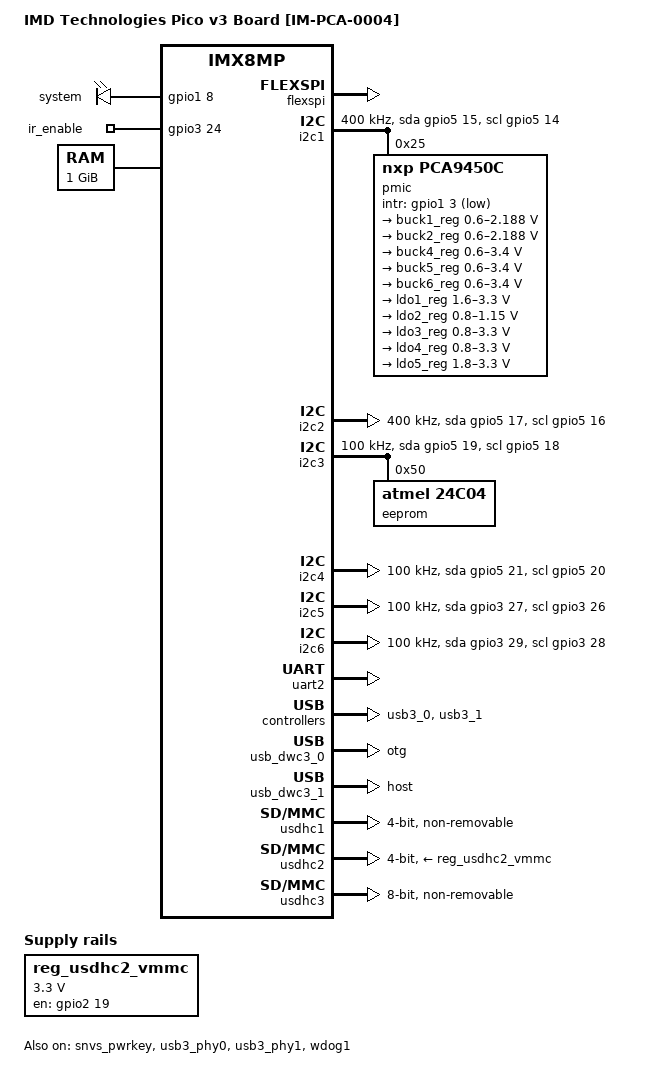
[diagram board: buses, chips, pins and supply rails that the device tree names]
// SPDX-License-Identifier: (GPL-2.0+ OR MIT)
/*
 * Copyright 2019 NXP
 * Copyright (c) 2022 IMD Technologies
 */

/dts-v1/;

#include <dt-bindings/usb/pd.h>
#include "imx8mp.dtsi"

/ {
	model = "IMD Technologies Pico v3 Board [IM-PCA-0004]";
	compatible = "imdt,imx8mp-imdt-pico-v3", "fsl,imx8mp";

	chosen {
		bootargs = "console=ttymxc1,115200";
		stdout-path = &uart2;
	};

	gpio-leds {
		compatible = "gpio-leds";
		pinctrl-names = "default";
		pinctrl-0 = <&pinctrl_gpio_led>;

		system {
			label = "system";
			gpios = <&gpio1 8 GPIO_ACTIVE_HIGH>;
			default-state = "on";
		};

		ir_enable {
			label = "ir_enable";
			gpios = <&gpio3 24 GPIO_ACTIVE_HIGH>;
			default-state = "off";
		};
	};

	memory@40000000 {
		device_type = "memory";
		reg = <0x0 0x40000000 0 0x40000000>;
	};

	reg_usdhc2_vmmc: regulator-usdhc2 {
		compatible = "regulator-fixed";
		pinctrl-names = "default";
		pinctrl-0 = <&pinctrl_reg_usdhc2_vmmc>;
		regulator-name = "VSD_3V3";
		regulator-min-microvolt = <3300000>;
		regulator-max-microvolt = <3300000>;
		gpio = <&gpio2 19 GPIO_ACTIVE_HIGH>;
		enable-active-high;
		startup-delay-us = <100>;
		off-on-delay-us = <12000>;
	};

	dsi_host: dsi-host {
		compatible = "samsung,sec-mipi-dsi";
		status = "disabled";
	};
};

&flexspi {
	pinctrl-names = "default";
	pinctrl-0 = <&pinctrl_flexspi0>;
	status = "okay";
};

&i2c1 {
	clock-frequency = <400000>;
	pinctrl-names = "default", "gpio";
	pinctrl-0 = <&pinctrl_i2c1>;
	pinctrl-1 = <&pinctrl_i2c1_gpio>;
	scl-gpios = <&gpio5 14 GPIO_ACTIVE_HIGH>;
	sda-gpios = <&gpio5 15 GPIO_ACTIVE_HIGH>;
	status = "okay";

	pmic: pca9450@25 {
		reg = <0x25>;
		compatible = "nxp,pca9450c";
		/* PMIC PCA9450 PMIC_nINT GPIO1_IO3 */
		pinctrl-0 = <&pinctrl_pmic>;
		gpio_intr = <&gpio1 3 GPIO_ACTIVE_LOW>;

		regulators {
			#address-cells = <1>;
			#size-cells = <0>;

			pca9450,pmic-buck2-uses-i2c-dvs;
			/* Run/Standby voltage */
			pca9450,pmic-buck2-dvs-voltage = <950000>, <850000>;

			buck1_reg: regulator@0 {
				reg = <0>;
				regulator-compatible = "buck1";
				regulator-min-microvolt = <600000>;
				regulator-max-microvolt = <2187500>;
				regulator-boot-on;
				regulator-always-on;
				regulator-ramp-delay = <3125>;
			};

			buck2_reg: regulator@1 {
				reg = <1>;
				regulator-compatible = "buck2";
				regulator-min-microvolt = <600000>;
				regulator-max-microvolt = <2187500>;
				regulator-boot-on;
				regulator-always-on;
				regulator-ramp-delay = <3125>;
			};

			buck4_reg: regulator@3 {
				reg = <3>;
				regulator-compatible = "buck4";
				regulator-min-microvolt = <600000>;
				regulator-max-microvolt = <3400000>;
				regulator-boot-on;
				regulator-always-on;
			};

			buck5_reg: regulator@4 {
				reg = <4>;
				regulator-compatible = "buck5";
				regulator-min-microvolt = <600000>;
				regulator-max-microvolt = <3400000>;
				regulator-boot-on;
				regulator-always-on;
			};

			buck6_reg: regulator@5 {
				reg = <5>;
				regulator-compatible = "buck6";
				regulator-min-microvolt = <600000>;
				regulator-max-microvolt = <3400000>;
				regulator-boot-on;
				regulator-always-on;
			};

			ldo1_reg: regulator@6 {
				reg = <6>;
				regulator-compatible = "ldo1";
				regulator-min-microvolt = <1600000>;
				regulator-max-microvolt = <3300000>;
				regulator-boot-on;
				regulator-always-on;
			};

			ldo2_reg: regulator@7 {
				reg = <7>;
				regulator-compatible = "ldo2";
				regulator-min-microvolt = <800000>;
				regulator-max-microvolt = <1150000>;
				regulator-boot-on;
				regulator-always-on;
			};

			ldo3_reg: regulator@8 {
				reg = <8>;
				regulator-compatible = "ldo3";
				regulator-min-microvolt = <800000>;
				regulator-max-microvolt = <3300000>;
				regulator-boot-on;
				regulator-always-on;
			};

			ldo4_reg: regulator@9 {
				reg = <9>;
				regulator-compatible = "ldo4";
				regulator-min-microvolt = <800000>;
				regulator-max-microvolt = <3300000>;
				regulator-boot-on;
				regulator-always-on;
			};

			ldo5_reg: regulator@10 {
				reg = <10>;
				regulator-compatible = "ldo5";
				regulator-min-microvolt = <1800000>;
				regulator-max-microvolt = <3300000>;
			};
		};
	};
};

&i2c2 {
	clock-frequency = <400000>;
	pinctrl-names = "default", "gpio";
	pinctrl-0 = <&pinctrl_i2c2>;
	pinctrl-1 = <&pinctrl_i2c2_gpio>;
	scl-gpios = <&gpio5 16 GPIO_ACTIVE_HIGH>;
	sda-gpios = <&gpio5 17 GPIO_ACTIVE_HIGH>;
	status = "okay";
};

&i2c3 {
	clock-frequency = <100000>;
	pinctrl-names = "default", "gpio";
	pinctrl-0 = <&pinctrl_i2c3>;
	pinctrl-1 = <&pinctrl_i2c3_gpio>;
	scl-gpios = <&gpio5 18 GPIO_ACTIVE_HIGH>;
	sda-gpios = <&gpio5 19 GPIO_ACTIVE_HIGH>;
	status = "okay";

	eeprom@50 {
		compatible = "atmel,24c04";
		reg = <0x50>;
	};
};

&i2c4 {
	clock-frequency = <100000>;
	pinctrl-names = "default", "gpio";
	pinctrl-0 = <&pinctrl_i2c4>;
	pinctrl-1 = <&pinctrl_i2c4_gpio>;
	scl-gpios = <&gpio5 20 GPIO_ACTIVE_HIGH>;
	sda-gpios = <&gpio5 21 GPIO_ACTIVE_HIGH>;
	status = "okay";
};

&i2c5 {
	clock-frequency = <100000>;
	pinctrl-names = "default", "gpio";
	pinctrl-0 = <&pinctrl_i2c5>;
	pinctrl-1 = <&pinctrl_i2c5_gpio>;
	scl-gpios = <&gpio3 26 GPIO_ACTIVE_HIGH>;
	sda-gpios = <&gpio3 27 GPIO_ACTIVE_HIGH>;
	status = "okay";
};

&i2c6 {
	clock-frequency = <100000>;
	pinctrl-names = "default", "gpio";
	pinctrl-0 = <&pinctrl_i2c6>;
	pinctrl-1 = <&pinctrl_i2c6_gpio>;
	scl-gpios = <&gpio3 28 GPIO_ACTIVE_HIGH>;
	sda-gpios = <&gpio3 29 GPIO_ACTIVE_HIGH>;
	status = "okay";
};

&lcdif1 {
	status = "disabled";
};

&mipi_dsi {
	status = "disabled";
};

&snvs_pwrkey {
	status = "okay";
};

&uart2 {
	/* console */
	pinctrl-names = "default";
	pinctrl-0 = <&pinctrl_uart2>;
	status = "okay";
};

&usb3_phy0 {
	status = "okay";
};

&usb3_0 {
	status = "okay";
};

&usb_dwc3_0 {
	dr_mode = "otg";
	hnp-disable;
	srp-disable;
	adp-disable;
	usb-role-switch;
	role-switch-default-mode = "none";
	status = "okay";
};

&usb3_phy1 {
	fsl,phy-tx-preemp-amp-tune = <3>;
	fsl,phy-tx-vref-tune = <0xb>;
	status = "okay";
};

&usb3_1 {
	status = "okay";
};

&usb_dwc3_1 {
	pinctrl-names = "default";
	pinctrl-0 = <&pinctrl_usb1_vbus>;
	dr_mode = "host";
	status = "okay";
};

&usdhc1 {
	pinctrl-names = "default", "state_100mhz", "state_200mhz";
	pinctrl-0 = <&pinctrl_usdhc1>;
	pinctrl-1 = <&pinctrl_usdhc1_100mhz>;
	pinctrl-2 = <&pinctrl_usdhc1_200mhz>;
	bus-width = <4>;
	non-removable;
	status = "okay";
};

&usdhc2 {
	pinctrl-names = "default", "state_100mhz", "state_200mhz";
	pinctrl-0 = <&pinctrl_usdhc2>;
	pinctrl-1 = <&pinctrl_usdhc2_100mhz>;
	pinctrl-2 = <&pinctrl_usdhc2_200mhz>;
	vmmc-supply = <&reg_usdhc2_vmmc>;
	bus-width = <4>;
	status = "okay";
};

&usdhc3 {
	pinctrl-names = "default", "state_100mhz", "state_200mhz";
	pinctrl-0 = <&pinctrl_usdhc3>;
	pinctrl-1 = <&pinctrl_usdhc3_100mhz>;
	pinctrl-2 = <&pinctrl_usdhc3_200mhz>;
	bus-width = <8>;
	non-removable;
	status = "okay";
};

&wdog1 {
	pinctrl-names = "default";
	pinctrl-0 = <&pinctrl_wdog>;
	fsl,ext-reset-output;
	status = "okay";
};

&iomuxc {
	pinctrl-names = "default";

	pinctrl_flexspi0: flexspi0grp {
		fsl,pins = <
			MX8MP_IOMUXC_NAND_ALE__FLEXSPI_A_SCLK		0x1c2
			MX8MP_IOMUXC_NAND_CE0_B__FLEXSPI_A_SS0_B	0x82
			MX8MP_IOMUXC_NAND_DATA00__FLEXSPI_A_DATA00	0x82
			MX8MP_IOMUXC_NAND_DATA01__FLEXSPI_A_DATA01	0x82
		>;
	};

	pinctrl_gpio_led: gpioledgrp {
		fsl,pins = <
			MX8MP_IOMUXC_GPIO1_IO08__GPIO1_IO08		0x19
			MX8MP_IOMUXC_SAI5_RXD3__GPIO3_IO24		0x19
		>;
	};

	pinctrl_i2c1: i2c1grp {
		fsl,pins = <
			MX8MP_IOMUXC_I2C1_SCL__I2C1_SCL		0x400001c3
			MX8MP_IOMUXC_I2C1_SDA__I2C1_SDA		0x400001c3
		>;
	};

	pinctrl_i2c2: i2c2grp {
		fsl,pins = <
			MX8MP_IOMUXC_I2C2_SCL__I2C2_SCL			0x400001c3
			MX8MP_IOMUXC_I2C2_SDA__I2C2_SDA			0x400001c3
		>;
	};

	pinctrl_i2c3: i2c3grp {
		fsl,pins = <
			MX8MP_IOMUXC_I2C3_SCL__I2C3_SCL			0x400001c3
			MX8MP_IOMUXC_I2C3_SDA__I2C3_SDA			0x400001c3
		>;
	};

	pinctrl_i2c4: i2c4grp {
		fsl,pins = <
			MX8MP_IOMUXC_I2C4_SCL__I2C4_SCL			0x400001c3
			MX8MP_IOMUXC_I2C4_SDA__I2C4_SDA			0x400001c3
		>;
	};

	pinctrl_i2c5: i2c5grp {
		fsl,pins = <
			MX8MP_IOMUXC_HDMI_DDC_SCL__I2C5_SCL		0x400001c3
			MX8MP_IOMUXC_HDMI_DDC_SDA__I2C5_SDA		0x400001c3
		>;
	};

	pinctrl_i2c6: i2c6grp {
		fsl,pins = <
			MX8MP_IOMUXC_HDMI_CEC__I2C6_SCL			0x400001c3
			MX8MP_IOMUXC_HDMI_HPD__I2C6_SDA			0x400001c3
		>;
	};

	pinctrl_i2c1_gpio: i2c1grp-gpio {
		fsl,pins = <
			MX8MP_IOMUXC_I2C1_SCL__GPIO5_IO14        	0x1c3
			MX8MP_IOMUXC_I2C1_SDA__GPIO5_IO15        	0x1c3
		>;
	};

	pinctrl_i2c2_gpio: i2c2grp-gpio {
		fsl,pins = <
			MX8MP_IOMUXC_I2C2_SCL__GPIO5_IO16        	0x1c3
			MX8MP_IOMUXC_I2C2_SDA__GPIO5_IO17        	0x1c3
		>;
	};

	pinctrl_i2c3_gpio: i2c3grp-gpio {
		fsl,pins = <
			MX8MP_IOMUXC_I2C3_SCL__GPIO5_IO18        	0x1c3
			MX8MP_IOMUXC_I2C3_SDA__GPIO5_IO19        	0x1c3
		>;
	};

	pinctrl_i2c4_gpio: i2c4grp-gpio {
		fsl,pins = <
			MX8MP_IOMUXC_I2C4_SCL__GPIO5_IO20        	0x1c3
			MX8MP_IOMUXC_I2C4_SDA__GPIO5_IO21        	0x1c3
		>;
	};

	pinctrl_i2c5_gpio: i2c5grp-gpio {
		fsl,pins = <
			MX8MP_IOMUXC_HDMI_DDC_SCL__GPIO3_IO26      	0x1c3
			MX8MP_IOMUXC_HDMI_DDC_SDA__I2C5_SDA        	0x1c3
		>;
	};

	pinctrl_i2c6_gpio: i2c6grp-gpio {
		fsl,pins = <
			MX8MP_IOMUXC_HDMI_CEC__GPIO3_IO28        	0x1c3
			MX8MP_IOMUXC_HDMI_HPD__GPIO3_IO29	     	0x1c3
		>;
	};

	pinctrl_pmic: pmicirq {
		fsl,pins = <
			MX8MP_IOMUXC_GPIO1_IO03__GPIO1_IO03	0x41
		>;
	};

	pinctrl_reg_usdhc2_vmmc: regusdhc2vmmc {
		fsl,pins = <
			MX8MP_IOMUXC_SD2_RESET_B__GPIO2_IO19	0x41
		>;
	};

	pinctrl_uart2: uart2grp {
		fsl,pins = <
			MX8MP_IOMUXC_UART2_RXD__UART2_DCE_RX	0x49
			MX8MP_IOMUXC_UART2_TXD__UART2_DCE_TX	0x49
		>;
	};

	pinctrl_usb1_vbus: usb1grp {
		fsl,pins = <
			MX8MP_IOMUXC_GPIO1_IO14__USB2_OTG_PWR	0x19
		>;
	};

	pinctrl_usdhc1: usdhc1grp {
		fsl,pins = <
			MX8MP_IOMUXC_SD1_CLK__USDHC1_CLK		0x190
			MX8MP_IOMUXC_SD1_CMD__USDHC1_CMD		0x1d0
			MX8MP_IOMUXC_SD1_DATA0__USDHC1_DATA0		0x1d0
			MX8MP_IOMUXC_SD1_DATA1__USDHC1_DATA1		0x1d0
			MX8MP_IOMUXC_SD1_DATA2__USDHC1_DATA2		0x1d0
			MX8MP_IOMUXC_SD1_DATA3__USDHC1_DATA3		0x1d0
		>;
	};

	pinctrl_usdhc1_100mhz: usdhc1-100mhzgrp {
		fsl,pins = <
			MX8MP_IOMUXC_SD1_CLK__USDHC1_CLK		0x194
			MX8MP_IOMUXC_SD1_CMD__USDHC1_CMD		0x1d4
			MX8MP_IOMUXC_SD1_DATA0__USDHC1_DATA0		0x1d4
			MX8MP_IOMUXC_SD1_DATA1__USDHC1_DATA1		0x1d4
			MX8MP_IOMUXC_SD1_DATA2__USDHC1_DATA2		0x1d4
			MX8MP_IOMUXC_SD1_DATA3__USDHC1_DATA3		0x1d4
		>;
	};

	pinctrl_usdhc1_200mhz: usdhc1-200mhzgrp {
		fsl,pins = <
			MX8MP_IOMUXC_SD1_CLK__USDHC1_CLK		0x196
			MX8MP_IOMUXC_SD1_CMD__USDHC1_CMD		0x1d6
			MX8MP_IOMUXC_SD1_DATA0__USDHC1_DATA0		0x1d6
			MX8MP_IOMUXC_SD1_DATA1__USDHC1_DATA1		0x1d6
			MX8MP_IOMUXC_SD1_DATA2__USDHC1_DATA2		0x1d6
			MX8MP_IOMUXC_SD1_DATA3__USDHC1_DATA3		0x1d6
		>;
	};

	pinctrl_usdhc2: usdhc2grp {
		fsl,pins = <
			MX8MP_IOMUXC_SD2_CLK__USDHC2_CLK		0x190
			MX8MP_IOMUXC_SD2_CMD__USDHC2_CMD		0x1d0
			MX8MP_IOMUXC_SD2_DATA0__USDHC2_DATA0		0x1d0
			MX8MP_IOMUXC_SD2_DATA1__USDHC2_DATA1		0x1d0
			MX8MP_IOMUXC_SD2_DATA2__USDHC2_DATA2		0x1d0
			MX8MP_IOMUXC_SD2_DATA3__USDHC2_DATA3		0x1d0
			MX8MP_IOMUXC_GPIO1_IO04__USDHC2_VSELECT		0xc1
		>;
	};

	pinctrl_usdhc2_100mhz: usdhc2-100mhzgrp {
		fsl,pins = <
			MX8MP_IOMUXC_SD2_CLK__USDHC2_CLK		0x194
			MX8MP_IOMUXC_SD2_CMD__USDHC2_CMD		0x1d4
			MX8MP_IOMUXC_SD2_DATA0__USDHC2_DATA0		0x1d4
			MX8MP_IOMUXC_SD2_DATA1__USDHC2_DATA1		0x1d4
			MX8MP_IOMUXC_SD2_DATA2__USDHC2_DATA2		0x1d4
			MX8MP_IOMUXC_SD2_DATA3__USDHC2_DATA3		0x1d4
			MX8MP_IOMUXC_GPIO1_IO04__USDHC2_VSELECT 	0xc1
		>;
	};

	pinctrl_usdhc2_200mhz: usdhc2-200mhzgrp {
		fsl,pins = <
			MX8MP_IOMUXC_SD2_CLK__USDHC2_CLK		0x196
			MX8MP_IOMUXC_SD2_CMD__USDHC2_CMD		0x1d6
			MX8MP_IOMUXC_SD2_DATA0__USDHC2_DATA0		0x1d6
			MX8MP_IOMUXC_SD2_DATA1__USDHC2_DATA1		0x1d6
			MX8MP_IOMUXC_SD2_DATA2__USDHC2_DATA2		0x1d6
			MX8MP_IOMUXC_SD2_DATA3__USDHC2_DATA3		0x1d6
			MX8MP_IOMUXC_GPIO1_IO04__USDHC2_VSELECT 	0xc1
		>;
	};

	pinctrl_usdhc3: usdhc3grp {
		fsl,pins = <
			MX8MP_IOMUXC_NAND_WE_B__USDHC3_CLK		0x190
			MX8MP_IOMUXC_NAND_WP_B__USDHC3_CMD		0x1d0
			MX8MP_IOMUXC_NAND_DATA04__USDHC3_DATA0		0x1d0
			MX8MP_IOMUXC_NAND_DATA05__USDHC3_DATA1		0x1d0
			MX8MP_IOMUXC_NAND_DATA06__USDHC3_DATA2		0x1d0
			MX8MP_IOMUXC_NAND_DATA07__USDHC3_DATA3		0x1d0
			MX8MP_IOMUXC_NAND_RE_B__USDHC3_DATA4		0x1d0
			MX8MP_IOMUXC_NAND_CE2_B__USDHC3_DATA5		0x1d0
			MX8MP_IOMUXC_NAND_CE3_B__USDHC3_DATA6		0x1d0
			MX8MP_IOMUXC_NAND_CLE__USDHC3_DATA7		0x1d0
			MX8MP_IOMUXC_NAND_CE1_B__USDHC3_STROBE		0x190
		>;
	};

	pinctrl_usdhc3_100mhz: usdhc3-100mhzgrp {
		fsl,pins = <
			MX8MP_IOMUXC_NAND_WE_B__USDHC3_CLK		0x194
			MX8MP_IOMUXC_NAND_WP_B__USDHC3_CMD		0x1d4
			MX8MP_IOMUXC_NAND_DATA04__USDHC3_DATA0		0x1d4
			MX8MP_IOMUXC_NAND_DATA05__USDHC3_DATA1		0x1d4
			MX8MP_IOMUXC_NAND_DATA06__USDHC3_DATA2		0x1d4
			MX8MP_IOMUXC_NAND_DATA07__USDHC3_DATA3		0x1d4
			MX8MP_IOMUXC_NAND_RE_B__USDHC3_DATA4		0x1d4
			MX8MP_IOMUXC_NAND_CE2_B__USDHC3_DATA5		0x1d4
			MX8MP_IOMUXC_NAND_CE3_B__USDHC3_DATA6		0x1d4
			MX8MP_IOMUXC_NAND_CLE__USDHC3_DATA7		0x1d4
			MX8MP_IOMUXC_NAND_CE1_B__USDHC3_STROBE		0x194
		>;
	};

	pinctrl_usdhc3_200mhz: usdhc3-200mhzgrp {
		fsl,pins = <
			MX8MP_IOMUXC_NAND_WE_B__USDHC3_CLK		0x196
			MX8MP_IOMUXC_NAND_WP_B__USDHC3_CMD		0x1d6
			MX8MP_IOMUXC_NAND_DATA04__USDHC3_DATA0		0x1d6
			MX8MP_IOMUXC_NAND_DATA05__USDHC3_DATA1		0x1d6
			MX8MP_IOMUXC_NAND_DATA06__USDHC3_DATA2		0x1d6
			MX8MP_IOMUXC_NAND_DATA07__USDHC3_DATA3		0x1d6
			MX8MP_IOMUXC_NAND_RE_B__USDHC3_DATA4		0x1d6
			MX8MP_IOMUXC_NAND_CE2_B__USDHC3_DATA5		0x1d6
			MX8MP_IOMUXC_NAND_CE3_B__USDHC3_DATA6		0x1d6
			MX8MP_IOMUXC_NAND_CLE__USDHC3_DATA7		0x1d6
			MX8MP_IOMUXC_NAND_CE1_B__USDHC3_STROBE		0x196
		>;
	};

	pinctrl_wdog: wdoggrp {
		fsl,pins = <
			MX8MP_IOMUXC_GPIO1_IO02__WDOG1_WDOG_B	0xc6
		>;
	};
};
